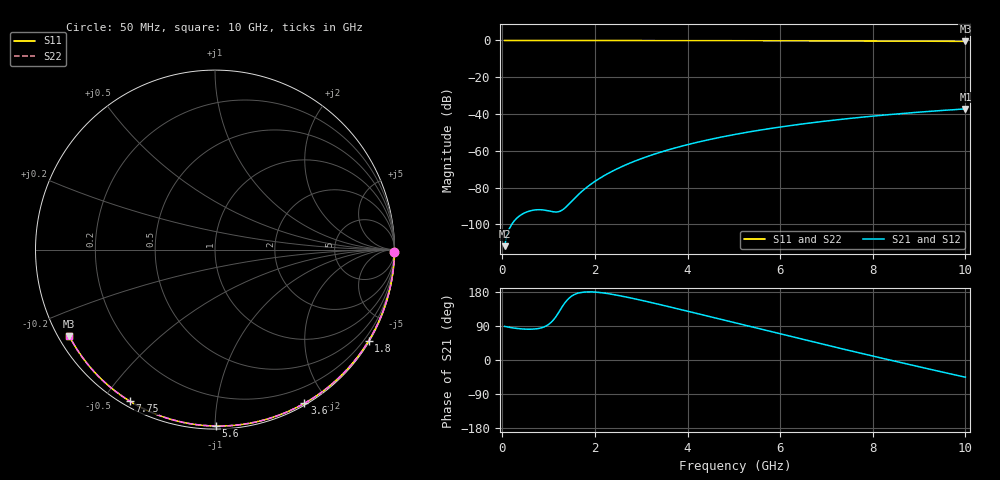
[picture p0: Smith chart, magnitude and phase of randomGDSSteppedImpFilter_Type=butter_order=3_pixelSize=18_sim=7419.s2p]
! freq	dB(S11)	phase(S11)	dB(S12)	phase(S12)
!  dB(S21)	phase(S21)	dB(S22)	phase(S22)
!S-par simulation data
#  GHz  S  DB  R 50
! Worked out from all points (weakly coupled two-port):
!   200 points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, 50 MHz to 10 GHz, reference 50 ohm
!   highest |S21| = -37.22 dB at 10 GHz (marker M1); lowest = -111.8 dB at 50 MHz (marker M2)
!   lowest |S11| = -0.5 dB at 10 GHz (marker M3), VSWR 34.64, Z = 1.55 - j13.7 ohm
!   |S11| at or under -10 dB: nowhere
!   |S22| runs from -0.5 to 0.0 dB; largest |S21 - S12| = 0
!   S11 on the Smith chart (normalised r, x): 50 MHz: open; 1.8 GHz: 0.03, -3.65; 3.6 GHz: 0.02, -1.74; 5.6 GHz: 0.02, -1.00; 7.75 GHz: 0.02, -0.58; 10 GHz: 0.03, -0.27
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0.05  -0.00 -0.9  -111.85 88.7  -111.85 88.7  -0.00 -0.9
0.45  -0.01 -7.8  -94.16 81.8  -94.16 81.8  -0.01 -7.8
0.9  -0.02 -15.5  -92.20 87.2  -92.20 87.2  -0.02 -15.5
1.3  -0.03 -22.3  -92.13 141.7  -92.13 141.7  -0.03 -22.3
1.75  -0.04 -29.8  -81.38 179.1  -81.38 179.1  -0.04 -29.8
1.8  -0.04 -30.7  -80.34 179.6  -80.34 179.6  -0.04 -30.7
1.85  -0.04 -31.5  -79.35 179.8  -79.35 179.8  -0.04 -31.5
2  -0.04 -34.0  -76.63 179.3  -76.63 179.3  -0.04 -34.0
2.15  -0.05 -36.5  -74.24 177.4  -74.24 177.4  -0.05 -36.5
2.5  -0.05 -42.2  -69.54 170.5  -69.54 170.5  -0.05 -42.2
2.9  -0.06 -48.7  -65.23 160.4  -65.23 160.4  -0.06 -48.7
3.4  -0.08 -56.7  -60.87 146.4  -60.87 146.4  -0.08 -56.7
3.6  -0.08 -59.8  -59.36 140.6  -59.36 140.6  -0.08 -59.8
4.3  -0.10 -70.6  -54.84 119.9  -54.84 119.9  -0.10 -70.6
5.05  -0.13 -81.8  -50.98 97.3  -50.98 97.3  -0.13 -81.8
5.6  -0.15 -89.7  -48.60 80.8  -48.60 80.8  -0.15 -89.7
6.15  -0.17 -97.6  -46.52 64.4  -46.52 64.4  -0.17 -97.6
6.7  -0.20 -105.2  -44.69 48.2  -44.69 48.2  -0.20 -105.2
7.75  -0.28 -119.5  -41.75 17.6  -41.75 17.6  -0.28 -119.5
8.35  -0.33 -127.5  -40.33 0.5  -40.33 0.5  -0.33 -127.5
9.2  -0.41 -138.7  -38.60 -23.4  -38.60 -23.4  -0.41 -138.7
10  -0.50 -149.4  -37.22 -45.5  -37.22 -45.5  -0.50 -149.4
